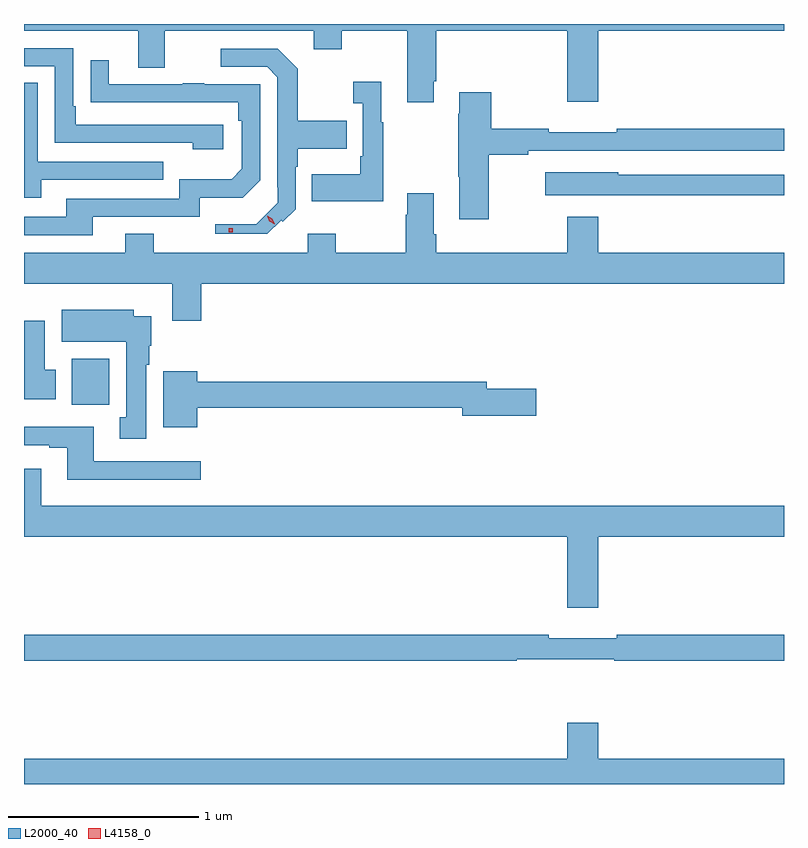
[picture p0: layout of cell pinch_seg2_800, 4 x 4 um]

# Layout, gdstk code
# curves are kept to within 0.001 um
import gdstk
lib = gdstk.Library(unit=1e-6, precision=1e-09)
def R(c, l, rs):  # rectangles x0, y0, x1, y1
    for r in rs: c.add(gdstk.rectangle(r[:2], r[2:], *l))
def P(c, l, *ps):  # polygons
    for p in ps: c.add(gdstk.Polygon(p, *l))
L2000_40 = (2000, 40)
L4158_0 = (4158, 0)

pinch_seg2_800 = lib.new_cell('pinch_seg2_800')
R(pinch_seg2_800, L2000_40, [(749.813,589.724,750.01,589.966)])
P(pinch_seg2_800, L2000_40, [(751.717,591.427),(751.73,591.427),(751.73,591.692),(752.42,591.692),(752.42,591.318),(752.584,591.318),(752.584,591.692),(753.561,591.692),(753.561,591.727),(749.561,591.727),(749.561,591.692),(750.161,591.692),(750.161,591.498),(750.301,591.498),(750.301,591.692),(751.085,591.692),(751.085,591.593),(751.233,591.593),(751.233,591.692),(751.577,591.692),(751.577,591.315),(751.717,591.315)],
  [(750.61,591.198),(749.833,591.198),(749.833,591.295),(749.82,591.295),(749.82,591.6),(749.561,591.6),(749.561,591.504),(749.724,591.504),(749.724,591.102),(750.449,591.102),(750.449,591.068),(750.61,591.068)],
  [(750.914,590.695),(750.923,590.686),(750.99,590.753),(750.99,590.975),(751.003,590.975),(751.003,591.071),(751.259,591.071),(751.259,591.219),(751.003,591.219),(751.003,591.491),(750.897,591.597),(750.597,591.597),(750.597,591.501),(750.84,591.501),(750.894,591.447),(750.894,590.869),(750.897,590.869),(750.897,590.787),(750.783,590.673),(750.567,590.673),(750.567,590.622),(750.841,590.622)],
  [(749.923,590.712),(750.487,590.712),(750.487,590.813),(750.713,590.813),(750.804,590.904),(750.804,591.411),(750.509,591.411),(750.509,591.416),(750.397,591.416),(750.397,591.411),(750.007,591.411),(750.007,591.535),(749.911,591.535),(749.911,591.316),(750.688,591.315),(750.688,591.218),(750.708,591.218),(750.708,590.964),(750.655,590.911),(750.378,590.911),(750.378,590.808),(749.783,590.808),(749.783,590.712),(749.561,590.712),(749.561,590.616),(749.923,590.616)],
  [(751.453,591.211),(751.441,591.211),(751.441,591.424),(751.293,591.424),(751.293,591.311),(751.344,591.311),(751.344,591.031),(751.332,591.031),(751.332,590.935),(751.075,590.935),(751.075,590.795),(751.453,590.795)],
  [(749.653,590.907),(750.293,590.907),(750.293,591.003),(749.634,591.003),(749.634,591.419),(749.561,591.419),(749.561,590.813),(749.653,590.813)],
  [(752.008,591.04),(752.216,591.04),(752.216,591.06),(753.561,591.06),(753.561,591.176),(752.68,591.176),(752.68,591.157),(752.324,591.157),(752.324,591.176),(752.021,591.176),(752.021,591.367),(751.853,591.367),(751.853,591.254),(751.846,591.254),(751.846,590.923),(751.853,590.923),(751.853,590.7),(752.008,590.7)],
  [(752.688,590.826),(753.561,590.826),(753.561,590.934),(752.688,590.934),(752.688,590.947),(752.304,590.947),(752.304,590.825),(752.688,590.825)],
  [(750.494,590.36),(753.561,590.36),(753.561,590.524),(752.584,590.524),(752.584,590.713),(752.42,590.713),(752.42,590.524),(751.73,590.524),(751.73,590.62),(751.717,590.62),(751.717,590.836),(751.577,590.836),(751.577,590.723),(751.57,590.723),(751.57,590.524),(751.203,590.524),(751.203,590.623),(751.055,590.623),(751.055,590.524),(750.243,590.524),(750.243,590.623),(750.095,590.623),(750.095,590.524),(749.561,590.524),(749.561,590.36),(750.341,590.36),(750.341,590.166),(750.494,590.166)],
  [(750.205,589.934),(750.22,589.934),(750.22,590.034),(750.232,590.034),(750.232,590.188),(750.139,590.188),(750.139,590.224),(749.759,590.224),(749.759,590.054),(750.098,590.054),(750.098,589.658),(750.065,589.658),(750.065,589.545),(750.205,589.545)],
  [(749.728,589.908),(749.671,589.908),(749.671,590.166),(749.561,590.166),(749.561,589.752),(749.728,589.752)],
  [(750.472,589.708),(751.868,589.708),(751.868,589.666),(752.257,589.666),(752.257,589.808),(751.996,589.808),(751.996,589.844),(750.472,589.844),(750.472,589.9),(750.293,589.9),(750.293,589.604),(750.472,589.604)],
  [(750.49,589.425),(749.929,589.425),(749.929,589.606),(749.561,589.606),(749.561,589.509),(749.693,589.509),(749.693,589.497),(749.789,589.497),(749.789,589.328),(750.49,589.328)],
  [(752.584,589.028),(753.561,589.028),(753.561,589.192),(749.653,589.192),(749.653,589.387),(749.561,589.387),(749.561,589.028),(752.42,589.028),(752.42,588.654),(752.584,588.654)],
  [(752.155,588.384),(752.668,588.384),(752.668,588.376),(753.561,588.376),(753.561,588.512),(752.68,588.512),(752.68,588.493),(752.324,588.493),(752.324,588.512),(749.561,588.512),(749.561,588.376),(752.155,588.376)],
  [(749.561,587.727),(753.561,587.727),(753.561,587.86),(752.584,587.86),(752.584,588.049),(752.42,588.049),(752.42,587.86),(749.561,587.86)])
R(pinch_seg2_800, L4158_0, [(750.639,590.631,750.659,590.651)])
P(pinch_seg2_800, L4158_0, [(750.88,590.673),(750.853,590.689),(750.841,590.717),(750.841,590.718),(750.841,590.718),(750.868,590.702),(750.88,590.673),(750.88,590.673)])

lib.write_gds('pinch_seg2_800.gds')
